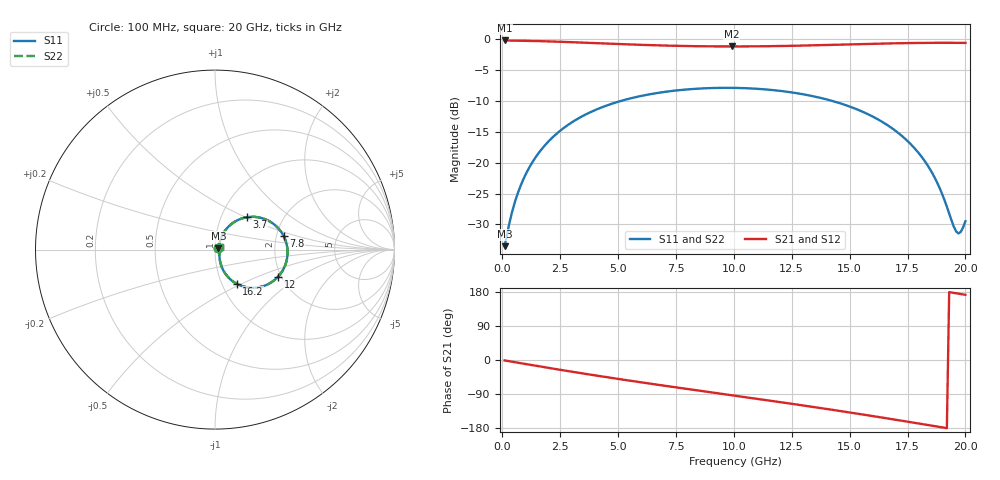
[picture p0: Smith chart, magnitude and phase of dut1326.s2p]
! Touchstone file exported from HFSS 2026.1.0
!  File:  C:/ffzhzh/LocalFiles/Ansys_Project_Files/temp_train_TSV_RDL_1326_1783337334_38820.aedt
!  Generated:  07:38:41 PM Jul  6, 2026
!  Design:  TSV_RDL
!  Project:  temp_train_TSV_RDL_1326_1783337334_38820
! Variables:
!  h_bsmrdl = 4.4um
!  h_ox = 20um
!  h_rdl = 5um
!  h_sub = 81.14um
!  h_tmrdl = 5.24um
!  h_tsv = 81.14um
!  h_via = 3um
!  l_bsmrdl = 486.25um
!  l_sub = 3067.13um
!  l_tmrdl = 281.83um
!  m_sub = 200um
!  pitch = 26.44um
!  r_tsv = 4.85um
!  s_tmrdl = 10um
!  w_bsmrdl = 10.11um
!  w_sub = 500um
!  w_tmrdl = 16.91um
!  x_tsv_center1 = 290.285um
!  x_tsv_center2 = 786.645um
!  x_tsv_center3 = 1085.385um
!  x_tsv_center4 = 1581.745um
!  x_tsv_center5 = 1880.485um
!  x_tsv_center6 = 2376.845um
# GHz S MA R 50.000000
! Terminal data exported
! Port[1] = TM_RDL1_1_T1
! Port[2] = TM_RDL5_1_T1
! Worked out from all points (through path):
!   200 points, 100 MHz to 20 GHz, reference 50 ohm
!   highest |S21| = -0.17 dB at 100 MHz (marker M1); lowest = -1.1 dB at 9.9 GHz (marker M2)
!   group delay of S21, straight-line fit = 25.4 ps
!   lowest |S11| = -33.5 dB at 100 MHz (marker M3), VSWR 1.04, Z = 52 + j0.847 ohm
!   |S11| at or under -10 dB: start of sweep to 5.103 GHz; 14.27 GHz to end of sweep
!   |S22| runs from -33.5 to -7.9 dB; largest |S21 - S12| = 8.6e-14
!   S11 on the Smith chart (normalised r, x): 100 MHz: 1.04, +0.02; 3.7 GHz: 1.32, +0.51; 7.8 GHz: 2.20, +0.38; 12 GHz: 1.93, -0.68; 16.2 GHz: 1.17, -0.47; 20 GHz: 1.06, +0.03
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0.1  0.02105 22.8  0.9807 -1.1  0.9807 -1.1  0.02105 22.8
! Gamma 0 0 0 0
! Port Impedance 50 0 50 0
0.4  0.03836 52.6  0.9785 -4.3  0.9785 -4.3  0.03836 52.6
0.6  0.05181 58.8  0.9772 -6.4  0.9772 -6.4  0.05181 58.8
1.3  0.101 63.0  0.9718 -13.7  0.9718 -13.7  0.101 63.0
2.2  0.1624 58.1  0.9613 -22.9  0.9613 -22.9  0.1624 58.1
3.5  0.2407 47.4  0.9416 -35.7  0.9416 -35.7  0.2407 47.4
3.7  0.2515 45.7  0.9384 -37.7  0.9384 -37.7  0.2515 45.7
5.2  0.32 32.7  0.9147 -51.7  0.9147 -51.7  0.32 32.7
6.8  0.3704 19.2  0.894 -66.1  0.894 -66.1  0.3704 19.2
7.8  0.3903 10.9  0.8848 -74.8  0.8848 -74.8  0.3903 10.9
9.9  0.4048 -6.2  0.8768 -92.9  0.8768 -92.9  0.4048 -6.2
10.1  0.4042 -7.8  0.8769 -94.6  0.8769 -94.6  0.4042 -7.8
12  0.3825 -23.2  0.8838 -111.1  0.8838 -111.1  0.3825 -23.2
13.4  0.3469 -34.7  0.8951 -123.6  0.8951 -123.6  0.3469 -34.7
16.2  0.226 -57.6  0.9236 -149.9  0.9236 -149.9  0.226 -57.5
16.7  0.198 -61.3  0.9281 -154.8  0.9281 -154.8  0.198 -61.2
17.6  0.1439 -66.9  0.9345 -163.7  0.9345 -163.7  0.144 -66.9
18.4  0.09316 -68.7  0.9379 -171.8  0.9379 -171.8  0.09322 -68.6
18.9  0.06157 -64.5  0.9388 -176.8  0.9388 -176.8  0.06168 -64.3
19.6  0.02771 -22.5  0.9382 176.1  0.9382 176.1  0.02794 -22.4
19.8  0.02747 4.5  0.9377 174.0  0.9377 174.0  0.02771 4.4
20  0.03351 26.2  0.937 172.0  0.937 172.0  0.03371 25.9
